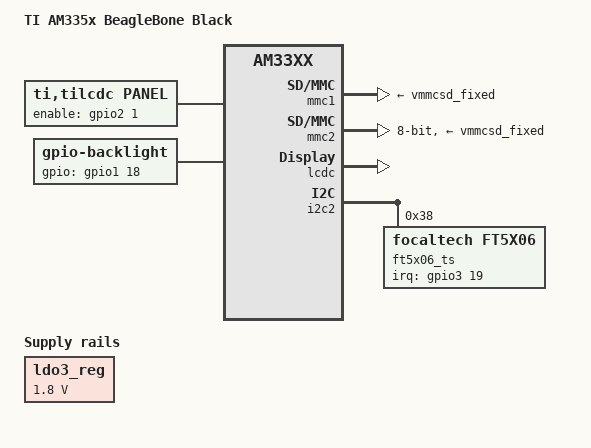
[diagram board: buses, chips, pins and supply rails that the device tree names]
/*
 * Copyright (C) 2015 Jumpnow Technologies, LLC - http://jumpnowtek.com
 *
 * This program is free software; you can redistribute it and/or modify
 * it under the terms of the GNU General Public License version 2 as
 * published by the Free Software Foundation.
 */

/dts-v1/;

#include "am33xx.dtsi"
#include "am335x-bone-common.dtsi"
#include "bbb-spi1-spidev.dtsi"
#include "bbb-i2c1.dtsi"
#include "bbb-i2c2.dtsi"
#include "bbb-uart4.dtsi"

/ {
	model = "TI AM335x BeagleBone Black";
	compatible = "ti,am335x-bone-black", "ti,am335x-bone", "ti,am33xx";
};

&ldo3_reg {
	regulator-min-microvolt = <1800000>;
	regulator-max-microvolt = <1800000>;
	regulator-always-on;
};

&mmc1 {
	vmmc-supply = <&vmmcsd_fixed>;
};

&mmc2 {
	vmmc-supply = <&vmmcsd_fixed>;
	pinctrl-names = "default";
	pinctrl-0 = <&emmc_pins>;
	bus-width = <8>;
	status = "okay";
};

&am33xx_pinmux {
	lcd_pins: lcd_pins {
		pinctrl-single,pins = <
			0xa0 (PIN_OUTPUT | MUX_MODE0)            /* P9.45, lcd_data0 */
			0xa4 (PIN_OUTPUT | MUX_MODE0)            /* P9.46, lcd_data1 */
			0xa8 (PIN_OUTPUT | MUX_MODE0)            /* P9.43, lcd_data2 */
			0xac (PIN_OUTPUT | MUX_MODE0)            /* P9.44, lcd_data3 */
			0xb0 (PIN_OUTPUT | MUX_MODE0)            /* P9.41, lcd_data4 */
			0xb4 (PIN_OUTPUT | MUX_MODE0)            /* P9.42, lcd_data5 */
			0xb8 (PIN_OUTPUT | MUX_MODE0)            /* P9.39, lcd_data6 */
			0xbc (PIN_OUTPUT | MUX_MODE0)            /* P9.40, lcd_data7 */
			0xc0 (PIN_OUTPUT | MUX_MODE0)            /* P9.37, lcd_data8 */
			0xc4 (PIN_OUTPUT | MUX_MODE0)            /* P9.38, lcd_data9 */
			0xc8 (PIN_OUTPUT | MUX_MODE0)            /* P9.36, lcd_data10 */
			0xcc (PIN_OUTPUT | MUX_MODE0)            /* P9.34, lcd_data11 */
			0xd0 (PIN_OUTPUT | MUX_MODE0)            /* P9.35, lcd_data12 */
			0xd4 (PIN_OUTPUT | MUX_MODE0)            /* P9.33, lcd_data13 */
			0xd8 (PIN_OUTPUT | MUX_MODE0)            /* P9.31, lcd_data14 */
			0xdc (PIN_OUTPUT | MUX_MODE0)            /* P9.32, lcd_data15 */
			0x20 (PIN_OUTPUT | MUX_MODE1)            /* P9.19, lcd_data23 */
			0x24 (PIN_OUTPUT | MUX_MODE1)            /* P9.13, lcd_data22 */
			0x28 (PIN_OUTPUT | MUX_MODE1)            /* P9.14, lcd_data21 */
			0x2c (PIN_OUTPUT | MUX_MODE1)            /* P9.17, lcd_data20 */
			0x30 (PIN_OUTPUT | MUX_MODE1)            /* P9.12, lcd_data19 */
			0x34 (PIN_OUTPUT | MUX_MODE1)            /* P9.11, lcd_data18 */
			0x38 (PIN_OUTPUT | MUX_MODE1)            /* P9.16, lcd_data17 */
			0x3c (PIN_OUTPUT | MUX_MODE1)            /* P9.15, lcd_data16 */
			0xe0 (PIN_OUTPUT_PULLDOWN | MUX_MODE0)   /* P9.27, lcd_vsync */
			0xe4 (PIN_OUTPUT_PULLDOWN | MUX_MODE0)   /* P9.29, lcd_hsync */
			0xe8 (PIN_OUTPUT_PULLDOWN | MUX_MODE0)   /* P9.28, lcd_pclk */
			0xec (PIN_OUTPUT_PULLDOWN | MUX_MODE0)   /* P9.30, lcd_ac_bias_en */
			/* LCD enable */
			0x8c (PIN_OUTPUT_PULLUP | MUX_MODE7)     /* P8.19, gpio2[1] */
		>;
	};

	backlight_pin: backlight_pin {
		pinctrl-single,pins = < 0x48 (PIN_OUTPUT_PULLUP | MUX_MODE7) >; /* P9.14, gpio1[18] */
	};

	touchscreen_pins: touchscreen_pins {
		pinctrl-single,pins = < 0x1a4 (PIN_INPUT_PULLUP | MUX_MODE7) >; /* P9.27, gpio3[19] */
	};
};

&lcdc {
	status = "okay";
};

/ {
	lcd0: display {
		status = "okay";
		compatible = "ti,tilcdc,panel";
		label = "lcd";
		pinctrl-names = "default";
		pinctrl-0 = <&lcd_pins>;
		enable-gpios = <&gpio2 1 GPIO_ACTIVE_HIGH>; /* P8.19 */

		panel-info {
			ac-bias           = <255>;
			ac-bias-intrpt    = <0>;
			dma-burst-sz      = <16>;
			bpp               = <32>;
			fdd               = <0x80>;
			sync-edge         = <0>;
			sync-ctrl         = <0>;
			raster-order      = <0>;
			fifo-th           = <0>;
		};

		display-timings {
			native-mode = <&timing0>;
			timing0: 800x480 {
				clock-frequency = <45000000>;
				hactive = <800>;
				vactive = <480>;
				hfront-porch = <40>;
				hback-porch = <40>;
				hsync-len = <48>;
				vback-porch = <29>;
				vfront-porch = <13>;
				vsync-len = <3>;
				hsync-active = <0>;
				vsync-active = <0>;
			};
		};
	};

	backlight {
		status = "okay";
		compatible = "gpio-backlight";
		pinctrl-names = "default";
		pinctrl-0 = <&backlight_pin>;
		gpios = <&gpio1 18 GPIO_ACTIVE_HIGH>; /* P9.14 */
		default-on;
	};
};

&i2c2 {
	ft5x06_ts: ft5x06_ts@38 {
		compatible = "focaltech,ft5x06";
		pinctrl-names = "default";
		pinctrl-0 = <&touchscreen_pins>;
		reg = <0x38>;
		interrupt-parent = <&gpio3>;
		interrupts = <19 0>; /* P9.27 */
		xmin = <0>;
		xmax = <799>;
		xfuzz = <0>;
		ymin = <0>;
		ymax = <479>;
		yfuzz = <0>;
		/* multitouch; */
	};
};

&rtc {
	system-power-controller;
};
